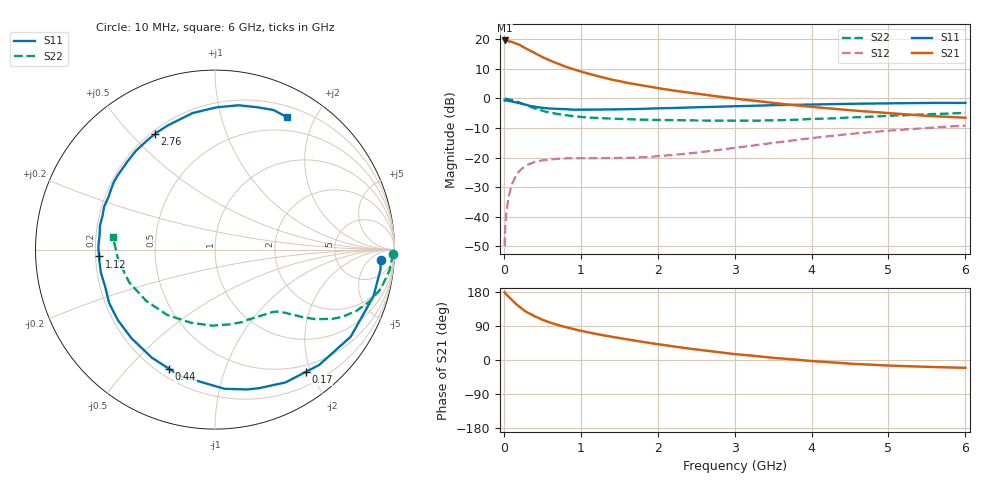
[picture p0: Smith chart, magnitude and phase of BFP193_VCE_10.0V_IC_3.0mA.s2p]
! Infineon Technologies  Discrete & RF Semiconductors
! BFP193
! VCE = 10.0V,  IC =  3.0 mA
! Common Emitter S-Parameters:  Jan 2016
# GHz  S  MA  R  50
!  f  S11  S21  S12  S22
! GHz  MAG  ANG  MAG  ANG  MAG  ANG  MAG  ANG
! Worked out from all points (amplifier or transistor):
!   210 points, 10 MHz to 6 GHz, reference 50 ohm
!   highest |S21| = 19.6 dB at 10 MHz (marker M1)
!   |S21| within 3 dB of that: start of sweep to 308.7 MHz
!   unconditionally stable (mu >= 1): 1.492 GHz to 3.567 GHz
!   at 185 MHz: K = 0.15, MSG = 21.7 dB, |S12| = -25.1 dB
!   at 1.52 GHz: K = 1.01, MAG = 12.3 dB, |S12| = -20.1 dB
!   at 6 GHz: K = 0.92, MSG = 1.3 dB, |S12| = -9.2 dB
!   S11 on the Smith chart (normalised r, x): 10 MHz: 16, -12; 170 MHz: 0.40, -1.92; 440 MHz: 0.24, -0.66; 1.12 GHz: 0.21, -0.03; 2.76 GHz: 0.22, +0.58; 6 GHz: 0.33, +1.63
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0.01  0.9251 -3.5  9.544 178.8  0.0032 88.7  0.9896 -1.4
0.02  0.9289 -6.8  9.348 175.3  0.0071 84.3  0.9888 -2.6
0.04  0.9202 -13.2  9.33 171.3  0.0138 81.6  0.9819 -5.3
0.1  0.8984 -32.7  9.084 159.3  0.0336 71.2  0.9494 -13.3
0.15  0.866 -47.9  8.522 148.9  0.0474 63.9  0.9061 -18.8
0.17  0.8486 -53.4  8.326 145.7  0.052 60.9  0.8862 -20.6
0.2  0.8379 -62.0  8.084 140.6  0.059 57.3  0.8581 -23.5
0.26  0.7994 -77.1  7.323 131.4  0.0693 50.1  0.7966 -28.1
0.3  0.7773 -86.1  6.849 126.1  0.0752 46.6  0.7619 -30.4
0.4  0.7302 -105.3  5.883 115.4  0.0844 38.9  0.6803 -34.7
0.44  0.7113 -111.1  5.516 112.1  0.0866 36.6  0.656 -35.8
0.5  0.6975 -120.3  5.007 106.2  0.0901 33.4  0.62 -37.5
0.7  0.6688 -144.0  3.879 92.4  0.0959 27.1  0.5457 -40.9
1.02  0.6477 -170.0  2.803 76.3  0.0977 23.4  0.4852 -45.4
1.12  0.6477 -176.6  2.582 72.0  0.0982 23.4  0.4749 -47.1
1.6  0.6624 158.8  1.84 54.3  0.0998 26.3  0.4478 -55.6
2.02  0.6821 142.0  1.483 41.3  0.1064 32.0  0.4318 -64.8
2.76  0.7254 117.6  1.09 21.4  0.1334 40.2  0.4209 -84.7
3.1  0.7436 108.5  0.963 13.8  0.1523 41.5  0.4223 -95.2
4.1  0.7956 87.6  0.702 -4.0  0.2214 37.6  0.453 -129.7
5.1  0.8292 72.4  0.554 -15.3  0.2919 26.8  0.5149 -162.2
6  0.84 61.5  0.473 -20.7  0.3485 15.3  0.573 173.1
